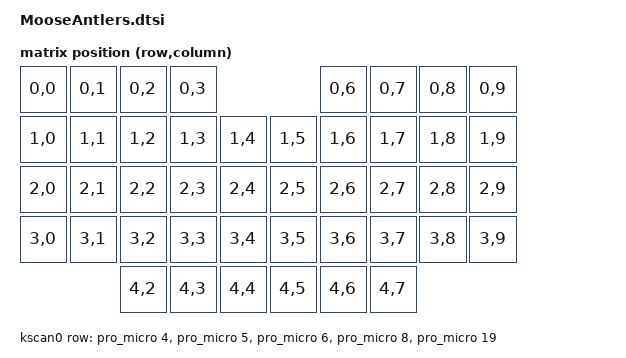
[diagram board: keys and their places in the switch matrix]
/*
 * Copyright (c) 2025 jB 
 * SPDX-Licence-Identifier: MIT
 */

#include <dt-bindings/zmk/matrix_transform.h>
#include <layouts/MAkeyB/MooseAntlers.dtsi>


&MAkeyB_MooseAntlers_layout {
    transform = <&default_transform>;
};




/{
    chosen {
         zephyr,display = &oled;
            zmk,kscan = &kscan0;
            zmk,physical-layout = &MooseAntlers_Key_layout;
            zmk,backlight = &backlight;
        };

        default_transform: keymap_transform_0 {
            compatible = "zmk,matrix-transform";
            columns = <10>;
            rows = <5>;

        // | SW16 | SW11 | SW6  | SW1  |                  | SW1  | SW6  | SW11 | SW16 |      
        // | SW21 | SW17 | SW12 | SW7  | SW2 |      | SW2 | SW7  | SW12 | SW17 | SW21 | 
        // | SW22 | SW18 | SW13 | SW8  | SW3 |      | SW3 | SW8  | SW13 | SW18 | SW22 | 
        // | SW20 | SW19 | SW14 | SW9  | SW4 |      | SW4 | SW9  | SW14 | SW19 | SW20 | 
        //                 SW15 | SW10 | SW5 |      | SW5 | SW10 | SW15 |
            map = <
        RC(0,0) RC(0,1) RC(0,2) RC(0,3)                     RC(0,6) RC(0,7) RC(0,8) RC(0,9) 
        RC(1,0) RC(1,1) RC(1,2) RC(1,3) RC(1,4)     RC(1,5) RC(1,6) RC(1,7) RC(1,8) RC(1,9) 
        RC(2,0) RC(2,1) RC(2,2) RC(2,3) RC(2,4)     RC(2,5) RC(2,6) RC(2,7) RC(2,8) RC(2,9) 
        RC(3,0) RC(3,1) RC(3,2) RC(3,3) RC(3,4)     RC(3,5) RC(3,6) RC(3,7) RC(3,8) RC(3,9) 
                        RC(4,2) RC(4,3) RC(4,4)     RC(4,5) RC(4,6) RC(4,7)
            >;
     };

     {
       kscan0: kscan0 {
          compatible = "zmk,kscan-gpio-matrix";
          diode-direction = "col2row";
          wakeup-source;

          row-gpios
            = <&pro_micro 4 (GPIO_ACTIVE_HIGH | GPIO_PULL_DOWN)>    
            , <&pro_micro 5 (GPIO_ACTIVE_HIGH | GPIO_PULL_DOWN)>
            , <&pro_micro 6 (GPIO_ACTIVE_HIGH | GPIO_PULL_DOWN)>
            , <&pro_micro 8 (GPIO_ACTIVE_HIGH | GPIO_PULL_DOWN)>
            , <&pro_micro 19 (GPIO_ACTIVE_HIGH | GPIO_PULL_DOWN)>
            ;

        };
     };
    
        &pro_micro_i2c {
        status = "okay";

        oled: ssd1306@3c {
            compatible = "solomon,ssd1306fb";
            reg = <0x3c>;
            width = <128>;
            height = <32>;
            segment-offset = <0>;
            page-offset = <0>;
            display-offset = <0>;
            multiplex-ratio = <31>;
            segment-remap;
            com-invdir;
            com-sequential;
            inversion-on;
            prechargep = <0x22>;
        };
     };

     {
      backlight: pwmleds {
        compatible = "pwm-leds";
        pwm_led_0 {
            pwms = <&pwm0 0 PWM_MSEC(10) PWM_POLARITY_NORMAL>;
             };
        };
     };
};
